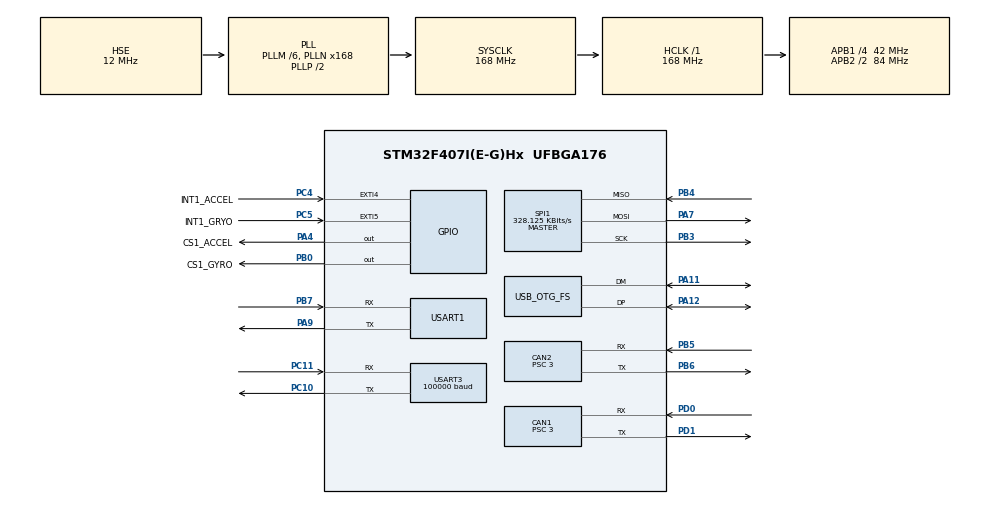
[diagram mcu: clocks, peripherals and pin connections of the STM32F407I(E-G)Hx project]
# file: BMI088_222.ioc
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CAN1.ABOM=ENABLE
CAN1.AWUM=ENABLE
CAN1.BS1=CAN_BS1_9TQ
CAN1.BS2=CAN_BS2_4TQ
CAN1.CalculateBaudRate=1000000
CAN1.CalculateTimeBit=1000
CAN1.CalculateTimeQuantum=71.42857142857143
CAN1.Prescaler=3
CAN2.ABOM=ENABLE
CAN2.AWUM=ENABLE
CAN2.BS1=CAN_BS1_9TQ
CAN2.BS2=CAN_BS2_4TQ
CAN2.CalculateBaudRate=1000000
CAN2.CalculateTimeBit=1000
CAN2.CalculateTimeQuantum=71.42857142857143
CAN2.Prescaler=3
Dma.Request0=SPI1_RX
Dma.Request1=SPI1_TX
Dma.Request2=USART3_RX
Dma.SPI1_RX.0.Direction=DMA_PERIPH_TO_MEMORY
Dma.SPI1_RX.0.FIFOMode=DMA_FIFOMODE_DISABLE
Dma.SPI1_RX.0.Instance=DMA2_Stream2
Dma.SPI1_RX.0.MemDataAlignment=DMA_MDATAALIGN_BYTE
Dma.SPI1_RX.0.MemInc=DMA_MINC_ENABLE
Dma.SPI1_RX.0.Mode=DMA_NORMAL
Dma.SPI1_RX.0.PeriphDataAlignment=DMA_PDATAALIGN_BYTE
Dma.SPI1_RX.0.PeriphInc=DMA_PINC_DISABLE
Dma.SPI1_RX.0.Priority=DMA_PRIORITY_VERY_HIGH
Dma.SPI1_TX.1.Direction=DMA_MEMORY_TO_PERIPH
Dma.SPI1_TX.1.FIFOMode=DMA_FIFOMODE_DISABLE
Dma.SPI1_TX.1.Instance=DMA2_Stream3
Dma.SPI1_TX.1.MemDataAlignment=DMA_MDATAALIGN_BYTE
Dma.SPI1_TX.1.MemInc=DMA_MINC_ENABLE
Dma.SPI1_TX.1.Mode=DMA_NORMAL
Dma.SPI1_TX.1.PeriphDataAlignment=DMA_PDATAALIGN_BYTE
Dma.SPI1_TX.1.PeriphInc=DMA_PINC_DISABLE
Dma.SPI1_TX.1.Priority=DMA_PRIORITY_HIGH
Dma.USART3_RX.2.Direction=DMA_PERIPH_TO_MEMORY
Dma.USART3_RX.2.FIFOMode=DMA_FIFOMODE_DISABLE
Dma.USART3_RX.2.Instance=DMA1_Stream1
Dma.USART3_RX.2.MemDataAlignment=DMA_MDATAALIGN_BYTE
Dma.USART3_RX.2.MemInc=DMA_MINC_ENABLE
Dma.USART3_RX.2.Mode=DMA_NORMAL
Dma.USART3_RX.2.PeriphDataAlignment=DMA_PDATAALIGN_BYTE
Dma.USART3_RX.2.PeriphInc=DMA_PINC_DISABLE
Dma.USART3_RX.2.Priority=DMA_PRIORITY_LOW
FREERTOS.Tasks01=INS_task,3,256,Start_INS_Task,As weak,NULL,Dynamic,NULL,NULL;Gimbal_Task,-3,256,Gimbal_Control,As weak,NULL,Dynamic,NULL,NULL;Shoot_Task,-3,256,Shoot_Control,As weak,NULL,Dynamic,NULL,NULL
FREERTOS.configMINIMAL_STACK_SIZE=256
Mcu.Family=STM32F4
Mcu.Name=STM32F407I(E-G)Hx
Mcu.Package=UFBGA176
NVIC.CAN1_RX0_IRQn=true\:5\:0\:false\:false\:true\:true\:true\:true\:true
NVIC.CAN1_TX_IRQn=true\:5\:0\:false\:false\:true\:true\:true\:true\:true
NVIC.CAN2_RX0_IRQn=true\:5\:0\:false\:false\:true\:true\:true\:true\:true
NVIC.CAN2_TX_IRQn=true\:5\:0\:false\:false\:true\:true\:true\:true\:true
NVIC.DMA1_Stream1_IRQn=true\:5\:0\:false\:false\:true\:true\:false\:true\:true
NVIC.DMA2_Stream2_IRQn=true\:5\:0\:false\:false\:true\:false\:false\:true\:true
NVIC.DMA2_Stream3_IRQn=true\:5\:0\:false\:false\:true\:true\:false\:true\:true
NVIC.EXTI4_IRQn=true\:5\:0\:true\:false\:true\:false\:true\:true\:true
NVIC.EXTI9_5_IRQn=true\:5\:0\:true\:false\:true\:false\:true\:true\:true
NVIC.OTG_FS_IRQn=true\:5\:0\:false\:false\:true\:true\:false\:true\:true
NVIC.PriorityGroup=NVIC_PRIORITYGROUP_4
NVIC.TIM6_DAC_IRQn=true\:5\:0\:false\:false\:true\:true\:true\:true\:true
NVIC.USART1_IRQn=true\:5\:0\:false\:false\:true\:true\:true\:true\:true
PA11.Mode=Device_Only
PA11.Signal=USB_OTG_FS_DM
PA12.Mode=Device_Only
PA12.Signal=USB_OTG_FS_DP
PA13.Mode=Serial_Wire
PA13.Signal=SYS_JTMS-SWDIO
PA14.Mode=Serial_Wire
PA14.Signal=SYS_JTCK-SWCLK
PA4.GPIO_Label=CS1_ACCEL
PA4.GPIO_PuPd=GPIO_PULLUP
PA4.GPIO_Speed=GPIO_SPEED_FREQ_HIGH
PA4.PinState=GPIO_PIN_SET
PA4.Signal=GPIO_Output
PA7.Mode=Full_Duplex_Master
PA7.Signal=SPI1_MOSI
PA9.Mode=Asynchronous
PA9.Signal=USART1_TX
PB0.GPIO_Label=CS1_GYRO
PB0.GPIO_PuPd=GPIO_PULLUP
PB0.GPIO_Speed=GPIO_SPEED_FREQ_HIGH
PB0.PinState=GPIO_PIN_SET
PB0.Signal=GPIO_Output
PB3.Mode=Full_Duplex_Master
PB3.Signal=SPI1_SCK
PB4.Mode=Full_Duplex_Master
PB4.Signal=SPI1_MISO
PB5.Mode=CAN_Activate
PB5.Signal=CAN2_RX
PB6.Mode=CAN_Activate
PB6.Signal=CAN2_TX
PB7.Mode=Asynchronous
PB7.Signal=USART1_RX
PC10.Mode=Asynchronous
PC10.Signal=USART3_TX
PC11.Mode=Asynchronous
PC11.Signal=USART3_RX
PC4.GPIO_Label=INT1_ACCEL
PC4.GPIO_PuPd=GPIO_PULLUP
PC4.Signal=GPXTI4
PC5.GPIO_Label=INT1_GRYO
PC5.GPIO_PuPd=GPIO_PULLUP
PC5.Signal=GPXTI5
PD0.Mode=CAN_Activate
PD0.Signal=CAN1_RX
PD1.Mode=CAN_Activate
PD1.Signal=CAN1_TX
PH0-OSC_IN.Mode=HSE-External-Oscillator
PH0-OSC_IN.Signal=RCC_OSC_IN
PH1-OSC_OUT.Mode=HSE-External-Oscillator
PH1-OSC_OUT.Signal=RCC_OSC_OUT
ProjectManager.HeapSize=0x200
ProjectManager.StackSize=0x400
ProjectManager.TargetToolchain=MDK-ARM V5.32
RCC.48MHZClocksFreq_Value=84000000
RCC.AHBFreq_Value=168000000
RCC.APB1CLKDivider=RCC_HCLK_DIV4
RCC.APB1Freq_Value=42000000
RCC.APB1TimFreq_Value=84000000
RCC.APB2CLKDivider=RCC_HCLK_DIV2
RCC.APB2Freq_Value=84000000
RCC.APB2TimFreq_Value=168000000
RCC.CortexFreq_Value=168000000
RCC.HCLKFreq_Value=168000000
RCC.HSE_VALUE=12000000
RCC.HSI_VALUE=16000000
RCC.LSE_VALUE=32768
RCC.PLLM=6
RCC.PLLN=168
RCC.SYSCLKFreq_VALUE=168000000
RCC.SYSCLKSource=RCC_SYSCLKSOURCE_PLLCLK
RCC.VCOOutputFreq_Value=336000000
SPI1.BaudRatePrescaler=SPI_BAUDRATEPRESCALER_256
SPI1.CLKPhase=SPI_PHASE_2EDGE
SPI1.CLKPolarity=SPI_POLARITY_HIGH
SPI1.CalculateBaudRate=328.125 KBits/s
SPI1.Direction=SPI_DIRECTION_2LINES
SPI1.Mode=SPI_MODE_MASTER
SPI1.VirtualType=VM_MASTER
TIM6.Period=999
TIM6.Prescaler=8399
USART1.VirtualMode=VM_ASYNC
USART3.BaudRate=100000
USART3.VirtualMode=VM_ASYNC
USB_DEVICE.CLASS_NAME_FS=CDC
USB_DEVICE.VirtualMode-CDC_FS=Cdc
USB_DEVICE.VirtualModeFS=Cdc_FS
USB_OTG_FS.VirtualMode=Device_Only
VP_FREERTOS_VS_CMSIS_V1.Mode=CMSIS_V1
VP_TIM6_VS_ClockSourceINT.Mode=Enable_Timer
VP_USB_DEVICE_VS_USB_DEVICE_CDC_FS.Mode=CDC_FS
board=custom

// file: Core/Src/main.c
/* USER CODE BEGIN Header */
/**
  ******************************************************************************
  * @file           : main.c
  * @brief          : Main program body
  ******************************************************************************
  * @attention
  *
  * Copyright (c) 2025 STMicroelectronics.
  * All rights reserved.
  *
  * This software is licensed under terms that can be found in the LICENSE file
  * in the root directory of this software component.
  * If no LICENSE file comes with this software, it is provided AS-IS.
  *
  ******************************************************************************
  */
/* USER CODE END Header */
#include "main.h"
#include "cmsis_os.h"
#include "can.h"
#include "dma.h"
#include "spi.h"
#include "tim.h"
#include "usart.h"
#include "usb_device.h"
#include "gpio.h"
#include "crc.h"

/* USER CODE BEGIN PD */
extern DMA_HandleTypeDef hdma_usart3_rx;
u8 dbus_recieve_1[36],dbus_recieve_2[36];
// 数据包结构定义
typedef struct {
    uint8_t header;      // 0xA4
    float linear_x;
    float linear_y;
    float linear_z;
    float angular_x;
    float angular_y;
    float angular_z;
    uint16_t checksum;
} __attribute__((packed)) ReceivePacketTwist;
// 串口接收缓冲区
#define RX_BUFFER_SIZE sizeof(ReceivePacketTwist)
uint8_t uart_rx_buffer[RX_BUFFER_SIZE];
uint8_t rx_index = 0;

// 底盘参数(根据实际底盘调整)
#define WHEEL_BASE 0.50f      // 左右驱动轮间距(米)
#define WHEEL_RADIUS 0.05f    // 驱动轮半径(米)
#define LINEAR_THRESHOLD 7   // m/s
#define ANGULAR_THRESHOLD 10   // rad/s

int16_t left_motor_rpm;
int16_t right_motor_rpm;

/* USER CODE END PD */

void SystemClock_Config(void);
void MX_FREERTOS_Init(void);
/* USER CODE BEGIN PFP */
uint8_t YiNianTongTian;
uint16_t calculate_checksum(uint8_t* data, uint16_t len);
void process_velocity_command(ReceivePacketTwist* packet);
int16_t wheel_speed_to_rpm(float wheel_speed);
/* USER CODE END PFP */

int main(void)
{

  /* MCU Configuration--------------------------------------------------------*/

  /* Reset of all peripherals, Initializes the Flash interface and the Systick. */
  HAL_Init();

  /* Configure the system clock */
  SystemClock_Config();

  /* Initialize all configured peripherals */
  MX_GPIO_Init();
  MX_DMA_Init();
  MX_SPI1_Init();
  MX_CAN1_Init();
  MX_CAN2_Init();
  MX_TIM6_Init();
  MX_USART3_UART_Init();
  MX_USART1_UART_Init();
  /* USER CODE BEGIN 2 */
  uint8_t rx_byte;
   HAL_UART_Receive_IT(&huart1, &rx_byte, 1);
  HAL_TIM_Base_Start_IT(&htim6);
	can_filter_init();
	HAL_CAN_ActivateNotification(&hcan1, CAN_IT_RX_FIFO0_MSG_PENDING);              //CAN�ж�ʹ��
	HAL_CAN_ActivateNotification(&hcan2, CAN_IT_RX_FIFO0_MSG_PENDING);

	HAL_NVIC_SetPriority(USART3_IRQn, 5, 0);
	HAL_NVIC_EnableIRQ(USART3_IRQn);
	//HAL_NVIC_SetPriority(USART1_IRQn, 5, 0);
	//HAL_NVIC_EnableIRQ(USART1_IRQn);

	SET_BIT(huart3.Instance->CR3, USART_CR3_DMAR);
	__HAL_UART_ENABLE_IT(&huart3, UART_IT_IDLE);//开启空闲中断
	__HAL_DMA_DISABLE(&hdma_usart3_rx);  //失能DMA,解除保护
	while(hdma_usart3_rx.Instance->CR & DMA_SxCR_EN)
	{
			__HAL_DMA_DISABLE(&hdma_usart3_rx);
	}
	__HAL_DMA_CLEAR_FLAG(&hdma_usart3_rx, DMA_LISR_TCIF1);
	hdma_usart3_rx.Instance->PAR = (uint32_t) & (USART3->DR);
	hdma_usart3_rx.Instance->M0AR = (uint32_t)(dbus_recieve_1);
	hdma_usart3_rx.Instance->M1AR = (uint32_t)(dbus_recieve_2);
	__HAL_DMA_SET_COUNTER(&hdma_usart3_rx, 36u);
	SET_BIT(hdma_usart3_rx.Instance->CR, DMA_SxCR_DBM);
	__HAL_DMA_ENABLE(&hdma_usart3_rx);

	YiNianTongTian=BMI088_init();
  while(YiNianTongTian)
  {
	  YiNianTongTian=BMI088_init();
  }
		Read_Offset();
        MX_USB_DEVICE_Init();

  /* USER CODE END 2 */

  /* Call init function for freertos objects (in cmsis_os2.c) */
  MX_FREERTOS_Init();

  /* Start scheduler */
  osKernelStart();

  /* We should never get here as control is now taken by the scheduler */

  /* Infinite loop */
  while (1)
  {

  }
}

void SystemClock_Config(void)
{
  RCC_OscInitTypeDef RCC_OscInitStruct = {0};
  RCC_ClkInitTypeDef RCC_ClkInitStruct = {0};

  /** Configure the main internal regulator output voltage
  */
  __HAL_RCC_PWR_CLK_ENABLE();
  __HAL_PWR_VOLTAGESCALING_CONFIG(PWR_REGULATOR_VOLTAGE_SCALE1);

  /** Initializes the RCC Oscillators according to the specified parameters
  * in the RCC_OscInitTypeDef structure.
  */
  RCC_OscInitStruct.OscillatorType = RCC_OSCILLATORTYPE_HSE;
  RCC_OscInitStruct.HSEState = RCC_HSE_ON;
  RCC_OscInitStruct.PLL.PLLState = RCC_PLL_ON;
  RCC_OscInitStruct.PLL.PLLSource = RCC_PLLSOURCE_HSE;
  RCC_OscInitStruct.PLL.PLLM = 6;
  RCC_OscInitStruct.PLL.PLLN = 168;
  RCC_OscInitStruct.PLL.PLLP = RCC_PLLP_DIV2;
  RCC_OscInitStruct.PLL.PLLQ = 4;
  if (HAL_RCC_OscConfig(&RCC_OscInitStruct) != HAL_OK)
  {
    Error_Handler();
  }

  /** Initializes the CPU, AHB and APB buses clocks
  */
  RCC_ClkInitStruct.ClockType = RCC_CLOCKTYPE_HCLK|RCC_CLOCKTYPE_SYSCLK
                              |RCC_CLOCKTYPE_PCLK1|RCC_CLOCKTYPE_PCLK2;
  RCC_ClkInitStruct.SYSCLKSource = RCC_SYSCLKSOURCE_PLLCLK;
  RCC_ClkInitStruct.AHBCLKDivider = RCC_SYSCLK_DIV1;
  RCC_ClkInitStruct.APB1CLKDivider = RCC_HCLK_DIV4;
  RCC_ClkInitStruct.APB2CLKDivider = RCC_HCLK_DIV2;

  if (HAL_RCC_ClockConfig(&RCC_ClkInitStruct, FLASH_LATENCY_5) != HAL_OK)
  {
    Error_Handler();
  }
}

/* USER CODE BEGIN 4 */
void HAL_UART_RxCpltCallback(UART_HandleTypeDef *huart) {
    if (huart->Instance == USART1) {
        static uint8_t rx_byte;

        // 寻找帧头
        if (rx_index == 0 && rx_byte != 0xA4) {
            HAL_UART_Receive_IT(&huart1, &rx_byte, 1);
            return;
        }

        uart_rx_buffer[rx_index++] = rx_byte;

        // 接收完整数据包
        if (rx_index >= RX_BUFFER_SIZE) {
            // CRC16校验
            if (Verify_CRC16_Check_Sum(uart_rx_buffer, RX_BUFFER_SIZE)) {
                ReceivePacketTwist* packet = (ReceivePacketTwist*)uart_rx_buffer;
                process_velocity_command(packet);

            }

            rx_index = 0;
        }

        HAL_UART_Receive_IT(&huart1, &rx_byte, 1);
    }
}

// 两轮差速运动学逆解
void differential_inverse_kinematics(float vx, float omega, float* wheel_speeds) {
    // 左轮速度 = 前进速度 - (角速度 * 轮距/2)
    wheel_speeds[0] = vx - (omega * WHEEL_BASE / 2.0f);  // 左轮

    // 右轮速度 = 前进速度 + (角速度 * 轮距/2)
    wheel_speeds[1] = vx + (omega * WHEEL_BASE / 2.0f);  // 右轮
}

// 速度指令处理
void process_velocity_command(ReceivePacketTwist* packet) {
    float wheel_speeds[2];
	if(packet->angular_z >= 1){
		packet->angular_z = 0;
	}

	float vx = packet->linear_x / 10.0f;  // 前进速度(m/s)
    float omega = packet->angular_z * 40;        // 旋转角速度(rad/s)
    // 差速底盘只使用linear_x和angular_z
    // linear_y被忽略(差速底盘无法横向移动)

	 // 判断运动模式:优先级为转向>前进
    if (fabs(omega) > ANGULAR_THRESHOLD) {
        // 转向模式:忽略线速度,只执行旋转
        vx = 0.0f;
    } else if (fabs(vx) > LINEAR_THRESHOLD) {
        // 前进模式:忽略角速度,只执行直线运动
        omega = 0.0f;
    } else {
        // 停止模式
        vx = 0.0f;
        omega = 0.0f;
    }

    differential_inverse_kinematics(
        vx,
        omega,
        wheel_speeds
    );

    // 转换为电机转速并发送CAN指令
     left_motor_rpm = wheel_speed_to_rpm(wheel_speeds[0]);
     right_motor_rpm = wheel_speed_to_rpm(wheel_speeds[1]);
	 right_motor_rpm = -right_motor_rpm;

}

// 轮速转换为电机RPM
int16_t wheel_speed_to_rpm(float wheel_speed) {
    // 线速度(m/s) -> 转速(RPM)
    float rpm = (wheel_speed / (2.0f * 3.14159f * WHEEL_RADIUS)) * 60.0f;

    // 3508电机减速比(如果有)
    #define MOTOR_REDUCTION_RATIO 1.0f
    rpm *= MOTOR_REDUCTION_RATIO;

    return (int16_t)rpm;
}

/* USER CODE END 4 */

void Error_Handler(void)
{
  __disable_irq();
  while (1)
  {
  }
}

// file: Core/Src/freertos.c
/* USER CODE BEGIN Header */
/**
  ******************************************************************************
  * File Name          : freertos.c
  * Description        : Code for freertos applications
  ******************************************************************************
  * @attention
  *
  * Copyright (c) 2025 STMicroelectronics.
  * All rights reserved.
  *
  * This software is licensed under terms that can be found in the LICENSE file
  * in the root directory of this software component.
  * If no LICENSE file comes with this software, it is provided AS-IS.
  *
  ******************************************************************************
  */
/* USER CODE END Header */

#include "FreeRTOS.h"
#include "task.h"
#include "main.h"
#include "cmsis_os.h"

osThreadId INS_taskHandle;
osThreadId Gimbal_TaskHandle;
osThreadId Shoot_TaskHandle;

void Start_INS_Task(void const * argument);
void Gimbal_Control(void const * argument);
void Shoot_Control(void const * argument);

extern void MX_USB_DEVICE_Init(void);
void MX_FREERTOS_Init(void); /* (MISRA C 2004 rule 8.1) */

/* GetIdleTaskMemory prototype (linked to static allocation support) */
void vApplicationGetIdleTaskMemory( StaticTask_t **ppxIdleTaskTCBBuffer, StackType_t **ppxIdleTaskStackBuffer, uint32_t *pulIdleTaskStackSize );

/* USER CODE BEGIN GET_IDLE_TASK_MEMORY */
static StaticTask_t xIdleTaskTCBBuffer;
static StackType_t xIdleStack[configMINIMAL_STACK_SIZE];

void vApplicationGetIdleTaskMemory( StaticTask_t **ppxIdleTaskTCBBuffer, StackType_t **ppxIdleTaskStackBuffer, uint32_t *pulIdleTaskStackSize )
{
  *ppxIdleTaskTCBBuffer = &xIdleTaskTCBBuffer;
  *ppxIdleTaskStackBuffer = &xIdleStack[0];
  *pulIdleTaskStackSize = configMINIMAL_STACK_SIZE;
  /* place for user code */
}
/* USER CODE END GET_IDLE_TASK_MEMORY */

void MX_FREERTOS_Init(void) {

  /* Create the thread(s) */
  /* definition and creation of INS_task */
  osThreadDef(INS_task, Start_INS_Task, osPriorityRealtime, 0, 256);
  INS_taskHandle = osThreadCreate(osThread(INS_task), NULL);

  /* definition and creation of Gimbal_Task */
  osThreadDef(Gimbal_Task, Gimbal_Control, osPriorityIdle, 0, 256);
  Gimbal_TaskHandle = osThreadCreate(osThread(Gimbal_Task), NULL);

  /* definition and creation of Shoot_Task */
  osThreadDef(Shoot_Task, Shoot_Control, osPriorityIdle, 0, 256);
  Shoot_TaskHandle = osThreadCreate(osThread(Shoot_Task), NULL);

}

__weak void Start_INS_Task(void const * argument)
{
  /* init code for USB_DEVICE */
  MX_USB_DEVICE_Init();
  for(;;)
  {
    osDelay(1);
  }
}

__weak void Gimbal_Control(void const * argument)
{
  for(;;)
  {
    osDelay(1);
  }
}

__weak void Shoot_Control(void const * argument)
{
  for(;;)
  {
    osDelay(1);
  }
}
